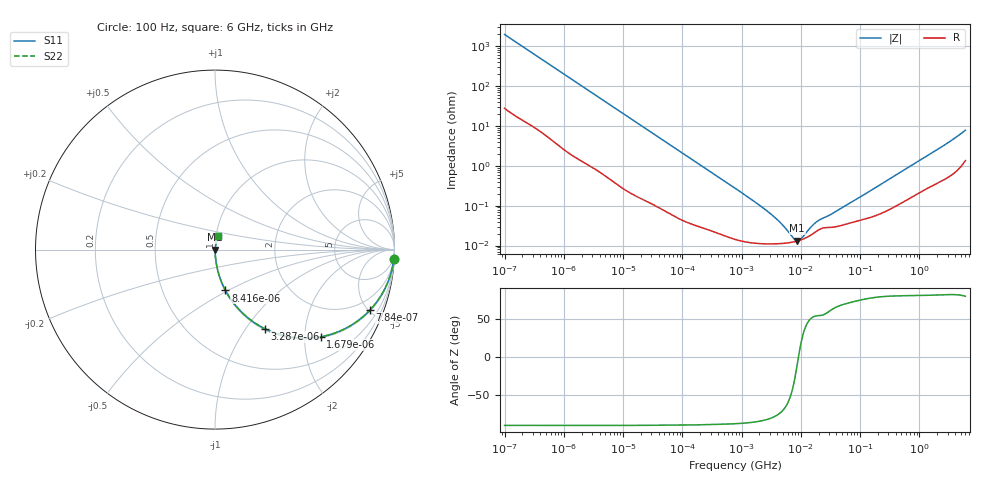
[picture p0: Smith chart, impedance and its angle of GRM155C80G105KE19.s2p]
!Murata Part Number: GRM155C80G105KE19
!These Parameters are Measured in Series Mode Connection
!Data Generated on Mar 30, 2021
!  o--ll--o
!Port1  Port2
!  o------o
!Operation Temp=25[degC], DC Bias Voltage=0[V]
!Freq. Start=100[Hz] Stop=6[GHz] 401[Steps]
# Hz S RI R 50
!Freq.(Hz) S11(Real) S11(Imag) S21(Real) S21(Imag) S12(Real) S12(Imag) S22(Real) S22(Imag)
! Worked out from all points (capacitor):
!   401 points, 100 Hz to 6 GHz, reference 50 ohm
!   read as one part in series: C = 808 nF near 109 Hz
!   lowest |Z| = 13.1 mohm at 8.692 MHz (marker M1)
!   series resonance near 9.106 MHz, so ESL is about 380 pH
!   S11 on the Smith chart (normalised r, x): 100 Hz: 2, -39; 784 Hz: 1.07, -5.10; 1.679 kHz: 1.03, -2.39; 3.287 kHz: 1.02, -1.23; 8.416 kHz: 1.01, -0.48; 6 GHz: 1.03, +0.15
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100  0.9967 -0.0507  0.0033 0.0507  0.0033 0.0507  0.9967 -0.0507
293  0.9766 -0.1441  0.0234 0.1441  0.0234 0.1441  0.9766 -0.1441
784  0.8635 -0.3368  0.1365 0.3368  0.1365 0.3368  0.8635 -0.3368
1122  0.7587 -0.4216  0.2413 0.4216  0.2413 0.4216  0.7587 -0.4216
1679  0.588 -0.4859  0.412 0.4859  0.412 0.4859  0.588 -0.4859
2008  0.5012 -0.4936  0.4988 0.4936  0.4988 0.4936  0.5012 -0.4936
3287  0.2773 -0.4409  0.7227 0.4409  0.7227 0.4409  0.2773 -0.4409
5143  0.1382 -0.3384  0.8618 0.3384  0.8618 0.3384  0.1382 -0.3384
8416  0.0581 -0.2274  0.9419 0.2274  0.9419 0.2274  0.0581 -0.2274
17227  0.0155 -0.1168  0.9845 0.1168  0.9845 0.1168  0.0155 -0.1168
40335  0.00349 -0.051  0.9965 0.051  0.9965 0.051  0.00349 -0.051
774597  0.00015 -0.00274  0.9998 0.00274  0.9998 0.00274  0.00015 -0.00274
3245845  0.00011 -0.000578  0.9999 0.000578  0.9999 0.000578  0.00011 -0.000578
4856642  0.000113 -0.000316  0.9999 0.000316  0.9999 0.000316  0.000113 -0.000316
7599586  0.000123 -8.52e-05  0.9999 8.52e-05  0.9999 8.52e-05  0.000123 -8.52e-05
8692127  0.00013 -2.17e-05  0.9999 2.17e-05  0.9999 2.17e-05  0.00013 -2.17e-05
1.039699e7  0.000141 6.16e-05  0.9999 -6.16e-05  0.9999 -6.16e-05  0.000141 6.16e-05
1.555665e7  0.000192 0.000248  0.9998 -0.000248  0.9998 -0.000248  0.000192 0.000248
2.035112e7  0.000251 0.000354  0.9997 -0.000354  0.9997 -0.000354  0.000251 0.000354
3.482834e7  0.000289 0.000579  0.9997 -0.000579  0.9997 -0.000579  0.000289 0.000579
3.124326e8  0.000818 0.00458  0.9992 -0.00458  0.9992 -0.00458  0.000818 0.00458
6e9  0.0189 0.0743  0.9811 -0.0743  0.9811 -0.0743  0.0189 0.0743
